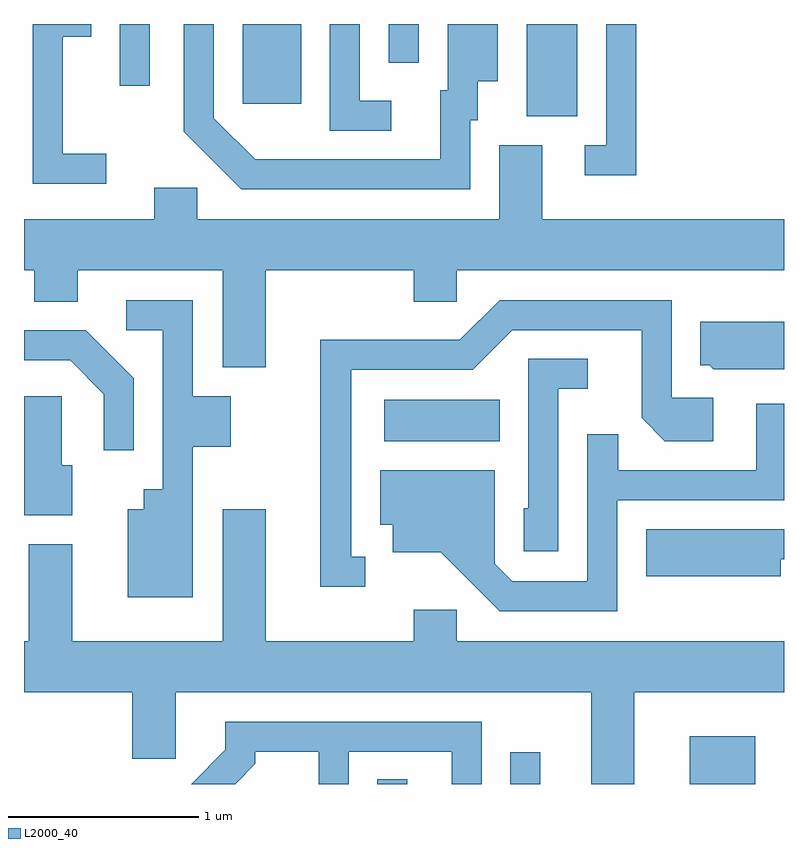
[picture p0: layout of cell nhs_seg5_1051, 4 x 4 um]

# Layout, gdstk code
import gdstk
lib = gdstk.Library(unit=1e-6, precision=1e-09)
def R(c, l, rs):  # rectangles x0, y0, x1, y1
    for r in rs: c.add(gdstk.rectangle(r[:2], r[2:], *l))
def P(c, l, *ps):  # polygons
    for p in ps: c.add(gdstk.Polygon(p, *l))
L2000_40 = (2000, 40)

nhs_seg5_1051 = lib.new_cell('nhs_seg5_1051')
R(nhs_seg5_1051, L2000_40, [(217.471,1474.072,217.629,1474.098), (218.171,1474.072,218.329,1474.238), (219.116,1474.072,219.459,1474.324), (217.506,1475.876,218.114,1476.094), (218.256,1477.586,218.524,1478.072), (216.761,1477.651,217.069,1478.072), (216.116,1477.748,216.274,1478.072), (217.531,1477.868,217.689,1478.072)])
P(nhs_seg5_1051, L2000_40, [(216.043,1477.389),(215.814,1477.389),(215.814,1478.006),(215.964,1478.006),(215.964,1478.072),(215.656,1478.072),(215.656,1477.231),(216.043,1477.231)],
  [(217.959,1477.566),(217.999,1477.566),(217.999,1477.771),(218.104,1477.771),(218.104,1478.072),(217.841,1478.072),(217.841,1477.724),(217.801,1477.724),(217.801,1477.359),(216.827,1477.359),(216.609,1477.577),(216.609,1478.072),(216.451,1478.072),(216.451,1477.504),(216.754,1477.201),(217.959,1477.201)],
  [(217.543,1477.669),(217.379,1477.669),(217.379,1478.072),(217.221,1478.072),(217.221,1477.511),(217.543,1477.511)],
  [(218.834,1478.072),(218.676,1478.072),(218.676,1477.434),(218.563,1477.434),(218.563,1477.276),(218.834,1477.276)],
  [(216.884,1476.776),(217.661,1476.776),(217.661,1476.611),(217.889,1476.611),(217.889,1476.776),(219.611,1476.776),(219.611,1477.044),(218.339,1477.044),(218.339,1477.434),(218.111,1477.434),(218.111,1477.044),(216.524,1477.044),(216.524,1477.209),(216.296,1477.209),(216.296,1477.044),(215.611,1477.044),(215.611,1476.776),(215.666,1476.776),(215.666,1476.611),(215.894,1476.611),(215.894,1476.776),(216.656,1476.776),(216.656,1476.266),(216.884,1476.266)],
  [(216.499,1475.846),(216.699,1475.846),(216.699,1476.114),(216.499,1476.114),(216.499,1476.619),(216.148,1476.619),(216.148,1476.461),(216.341,1476.461),(216.341,1475.624),(216.241,1475.624),(216.241,1475.519),(216.156,1475.519),(216.156,1475.056),(216.499,1475.056)],
  [(217.408,1475.269),(217.334,1475.269),(217.334,1476.251),(217.972,1476.251),(218.182,1476.461),(218.861,1476.461),(218.861,1475.999),(218.984,1475.876),(219.239,1475.876),(219.239,1476.104),(219.019,1476.104),(219.019,1476.619),(218.114,1476.619),(217.904,1476.409),(217.171,1476.409),(217.171,1475.111),(217.408,1475.111)],
  [(219.611,1476.504),(219.171,1476.504),(219.171,1476.276),(219.219,1476.276),(219.239,1476.256),(219.611,1476.256)],
  [(216.189,1476.207),(215.937,1476.459),(215.611,1476.459),(215.611,1476.301),(215.854,1476.301),(216.031,1476.124),(216.031,1475.828),(216.189,1475.828)],
  [(218.424,1476.151),(218.578,1476.151),(218.578,1476.309),(218.266,1476.309),(218.266,1475.524),(218.241,1475.524),(218.241,1475.296),(218.424,1475.296)],
  [(215.864,1475.749),(215.809,1475.749),(215.809,1476.114),(215.611,1476.114),(215.611,1475.486),(215.864,1475.486)],
  [(218.734,1475.566),(219.611,1475.566),(219.611,1476.073),(219.466,1476.073),(219.466,1475.724),(218.739,1475.724),(218.739,1475.913),(218.576,1475.913),(218.576,1475.139),(218.182,1475.139),(218.089,1475.232),(218.089,1475.724),(217.486,1475.724),(217.486,1475.436),(217.551,1475.436),(217.551,1475.291),(217.804,1475.291),(218.114,1474.981),(218.734,1474.981)],
  [(218.824,1474.556),(219.611,1474.556),(219.611,1474.824),(217.889,1474.824),(217.889,1474.989),(217.661,1474.989),(217.661,1474.824),(216.884,1474.824),(216.884,1475.519),(216.656,1475.519),(216.656,1474.824),(215.864,1474.824),(215.864,1475.334),(215.636,1475.334),(215.636,1474.824),(215.611,1474.824),(215.611,1474.556),(216.181,1474.556),(216.181,1474.206),(216.409,1474.206),(216.409,1474.556),(218.596,1474.556),(218.596,1474.072),(218.824,1474.072)],
  [(219.594,1475.256),(219.611,1475.256),(219.611,1475.414),(218.886,1475.414),(218.886,1475.166),(219.594,1475.166)],
  [(216.829,1474.179),(216.829,1474.241),(217.161,1474.241),(217.161,1474.072),(217.319,1474.072),(217.319,1474.241),(217.861,1474.241),(217.861,1474.072),(218.019,1474.072),(218.019,1474.399),(216.671,1474.399),(216.671,1474.252),(216.492,1474.072),(216.722,1474.072)])

lib.write_gds('nhs_seg5_1051.gds')
